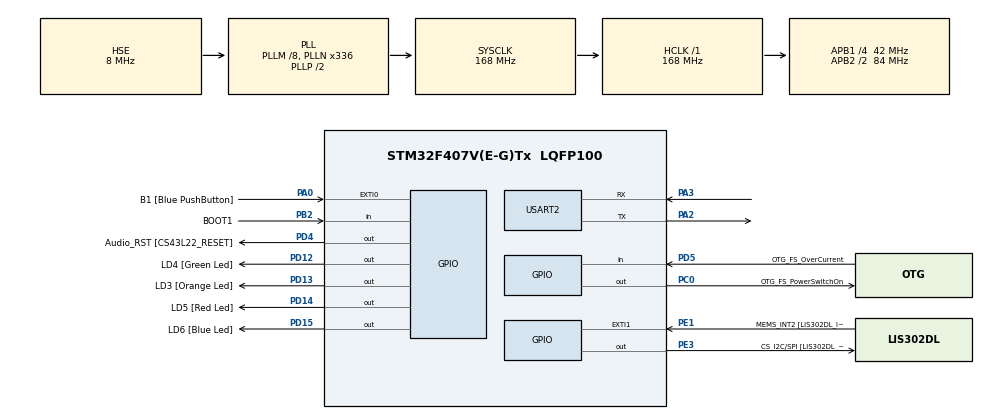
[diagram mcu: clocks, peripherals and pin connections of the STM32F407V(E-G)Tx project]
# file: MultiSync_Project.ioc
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Mcu.Family=STM32F4
Mcu.Name=STM32F407V(E-G)Tx
Mcu.Package=LQFP100
NVIC.EXTI0_IRQn=true\:6\:0\:true\:false\:true\:true\:true\:true
NVIC.PriorityGroup=NVIC_PRIORITYGROUP_4
NVIC.TIM6_DAC_IRQn=true\:0\:0\:false\:false\:true\:false\:true\:true
NVIC.TimeBase=TIM6_DAC_IRQn
NVIC.TimeBaseIP=TIM6
PA0-WKUP.GPIO_Label=B1 [Blue PushButton]
PA0-WKUP.GPIO_ModeDefaultEXTI=GPIO_MODE_IT_RISING
PA0-WKUP.GPIO_PuPd=GPIO_NOPULL
PA0-WKUP.Signal=GPXTI0
PA10.GPIO_Label=OTG_FS_ID
PA10.GPIO_Mode=GPIO_MODE_AF_PP
PA10.GPIO_PuPd=GPIO_NOPULL
PA10.GPIO_Speed=GPIO_SPEED_FREQ_LOW
PA10.Signal=USB_OTG_FS_ID
PA11.GPIO_Label=OTG_FS_DM
PA11.GPIO_Mode=GPIO_MODE_AF_PP
PA11.GPIO_PuPd=GPIO_NOPULL
PA11.GPIO_Speed=GPIO_SPEED_FREQ_LOW
PA11.Signal=USB_OTG_FS_DM
PA12.GPIO_Label=OTG_FS_DP
PA12.GPIO_Mode=GPIO_MODE_AF_PP
PA12.GPIO_PuPd=GPIO_NOPULL
PA12.GPIO_Speed=GPIO_SPEED_FREQ_LOW
PA12.Signal=USB_OTG_FS_DP
PA13.GPIO_Label=SWDIO
PA13.Mode=Serial_Wire
PA13.Signal=SYS_JTMS-SWDIO
PA14.GPIO_Label=SWCLK
PA14.Mode=Serial_Wire
PA14.Signal=SYS_JTCK-SWCLK
PA2.Mode=Asynchronous
PA2.Signal=USART2_TX
PA3.Mode=Asynchronous
PA3.Signal=USART2_RX
PA9.GPIO_Label=VBUS_FS
PA9.GPIO_Mode=GPIO_MODE_INPUT
PA9.GPIO_PuPd=GPIO_NOPULL
PA9.Signal=USB_OTG_FS_VBUS
PB10.GPIO_Label=CLK_IN [MP45DT02_CLK]
PB10.GPIO_Mode=GPIO_MODE_AF_PP
PB10.GPIO_PuPd=GPIO_NOPULL
PB10.GPIO_Speed=GPIO_SPEED_FREQ_LOW
PB10.Signal=I2S2_CK
PB2.GPIO_Label=BOOT1
PB2.GPIO_Mode=GPIO_MODE_INPUT
PB2.GPIO_PuPd=GPIO_NOPULL
PB2.Signal=GPIO_Input
PB3.GPIO_Label=SWO
PB3.Signal=SYS_JTDO-SWO
PB6.GPIO_Label=Audio_SCL [CS43L22_SCL]
PB6.GPIO_Mode=GPIO_MODE_AF_OD
PB6.GPIO_Pu=GPIO_PULLUP
PB6.GPIO_PuPd=GPIO_NOPULL
PB6.GPIO_Speed=GPIO_SPEED_FREQ_LOW
PB6.Signal=I2C1_SCL
PB9.GPIO_Label=Audio_SDA [CS43L22_SDA]
PB9.GPIO_Mode=GPIO_MODE_AF_OD
PB9.GPIO_Pu=GPIO_PULLUP
PB9.GPIO_PuPd=GPIO_NOPULL
PB9.GPIO_Speed=GPIO_SPEED_FREQ_LOW
PB9.Signal=I2C1_SDA
PC0.GPIO_Label=OTG_FS_PowerSwitchOn
PC0.GPIO_PuPd=GPIO_NOPULL
PC0.GPIO_Speed=GPIO_SPEED_FREQ_LOW
PC0.PinState=GPIO_PIN_SET
PC0.Signal=GPIO_Output
PC10.GPIO_Label=I2S3_SCK [CS43L22_SCLK]
PC10.GPIO_Mode=GPIO_MODE_AF_PP
PC10.GPIO_PuPd=GPIO_NOPULL
PC10.GPIO_Speed=GPIO_SPEED_FREQ_LOW
PC10.Signal=I2S3_CK
PC12.GPIO_Label=I2S3_SD [CS43L22_SDIN]
PC12.GPIO_Mode=GPIO_MODE_AF_PP
PC12.GPIO_PuPd=GPIO_NOPULL
PC12.GPIO_Speed=GPIO_SPEED_FREQ_LOW
PC12.Signal=I2S3_SD
PC14-OSC32_IN.GPIO_Label=PC14-OSC32_IN
PC14-OSC32_IN.Mode=LSE-External-Oscillator
PC14-OSC32_IN.Signal=RCC_OSC32_IN
PC15-OSC32_OUT.GPIO_Label=PC15-OSC32_OUT
PC15-OSC32_OUT.Mode=LSE-External-Oscillator
PC15-OSC32_OUT.Signal=RCC_OSC32_OUT
PC3.GPIO_Label=PDM_OUT [MP45DT02_DOUT]
PC3.GPIO_Mode=GPIO_MODE_AF_PP
PC3.GPIO_PuPd=GPIO_NOPULL
PC3.GPIO_Speed=GPIO_SPEED_FREQ_LOW
PC3.Signal=I2S2_SD
PC7.GPIO_Label=I2S3_MCK [CS43L22_MCLK]
PC7.GPIO_Mode=GPIO_MODE_AF_PP
PC7.GPIO_PuPd=GPIO_NOPULL
PC7.GPIO_Speed=GPIO_SPEED_FREQ_LOW
PC7.Signal=I2S3_MCK
PD12.GPIO_Label=LD4 [Green Led]
PD12.GPIO_PuPd=GPIO_NOPULL
PD12.GPIO_Speed=GPIO_SPEED_FREQ_LOW
PD12.Signal=GPIO_Output
PD13.GPIO_Label=LD3 [Orange Led]
PD13.GPIO_PuPd=GPIO_NOPULL
PD13.GPIO_Speed=GPIO_SPEED_FREQ_LOW
PD13.Signal=GPIO_Output
PD14.GPIO_Label=LD5 [Red Led]
PD14.GPIO_PuPd=GPIO_NOPULL
PD14.GPIO_Speed=GPIO_SPEED_FREQ_LOW
PD14.Signal=GPIO_Output
PD15.GPIO_Label=LD6 [Blue Led]
PD15.GPIO_PuPd=GPIO_NOPULL
PD15.GPIO_Speed=GPIO_SPEED_FREQ_LOW
PD15.Signal=GPIO_Output
PD4.GPIO_Label=Audio_RST [CS43L22_RESET]
PD4.GPIO_PuPd=GPIO_NOPULL
PD4.GPIO_Speed=GPIO_SPEED_FREQ_LOW
PD4.Signal=GPIO_Output
PD5.GPIO_Label=OTG_FS_OverCurrent
PD5.GPIO_Mode=GPIO_MODE_INPUT
PD5.GPIO_PuPd=GPIO_NOPULL
PD5.Signal=GPIO_Input
PE1.GPIO_Label=MEMS_INT2 [LIS302DL_INT2]
PE1.GPIO_ModeDefaultEXTI=GPIO_MODE_EVT_RISING
PE1.GPIO_PuPd=GPIO_NOPULL
PE1.Signal=GPXTI1
PE3.GPIO_Label=CS_I2C/SPI [LIS302DL_CS_I2C/SPI]
PE3.GPIO_PuPd=GPIO_NOPULL
PE3.GPIO_Speed=GPIO_SPEED_FREQ_LOW
PE3.Signal=GPIO_Output
PH0-OSC_IN.GPIO_Label=PH0-OSC_IN
PH0-OSC_IN.Mode=HSE-External-Oscillator
PH0-OSC_IN.Signal=RCC_OSC_IN
PH1-OSC_OUT.GPIO_Label=PH1-OSC_OUT
PH1-OSC_OUT.Mode=HSE-External-Oscillator
PH1-OSC_OUT.Signal=RCC_OSC_OUT
ProjectManager.HeapSize=0x200
ProjectManager.StackSize=0x400
ProjectManager.TargetToolchain=STM32CubeIDE
RCC.48MHZClocksFreq_Value=48000000
RCC.AHBFreq_Value=168000000
RCC.APB1CLKDivider=RCC_HCLK_DIV4
RCC.APB1Freq_Value=42000000
RCC.APB1TimFreq_Value=84000000
RCC.APB2CLKDivider=RCC_HCLK_DIV2
RCC.APB2Freq_Value=84000000
RCC.APB2TimFreq_Value=168000000
RCC.CortexFreq_Value=168000000
RCC.HCLKFreq_Value=168000000
RCC.HSE_VALUE=8000000
RCC.HSI_VALUE=16000000
RCC.PLLM=8
RCC.PLLN=336
RCC.PLLQ=7
RCC.PLLSourceVirtual=RCC_PLLSOURCE_HSE
RCC.SYSCLKFreq_VALUE=168000000
RCC.SYSCLKSource=RCC_SYSCLKSOURCE_PLLCLK
RCC.VCOOutputFreq_Value=336000000
USART2.VirtualMode=VM_ASYNC
VP_SYS_VS_tim6.Mode=TIM6
board=STM32F407G-DISC1

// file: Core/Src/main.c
/* USER CODE BEGIN Header */
/**
  ******************************************************************************
  * @file           : main.c
  * @brief          : Main program body
  ******************************************************************************
  * @attention
  *
  * Copyright (c) 2025 STMicroelectronics.
  * All rights reserved.
  *
  * This software is licensed under terms that can be found in the LICENSE file
  * in the root directory of this software component.
  * If no LICENSE file comes with this software, it is provided AS-IS.
  *
  ******************************************************************************
  */
/* USER CODE END Header */
#include "main.h"

/* USER CODE BEGIN Includes */

#include <stdio.h>   // sprintf, printf gibi fonksiyonlar için
#include <string.h>  // strlen, strcmp gibi fonksiyonlar için

#include "FreeRTOS.h"
#include "task.h"
#include "queue.h"
#include "semphr.h"
/* USER CODE END Includes */

UART_HandleTypeDef huart2;

/* USER CODE BEGIN PV */

QueueHandle_t queue;
SemaphoreHandle_t xCountingSem;
TaskHandle_t xNotifyTaskHandle;

/* USER CODE END PV */

void SystemClock_Config(void);
static void MX_GPIO_Init(void);
static void MX_USART2_UART_Init(void);
/* USER CODE BEGIN PFP */
void button_interrupt_handler(void);
void vQueueTask(void *pvParameters);
void vCountSemTask(void *pvParameters);
void vNotifyTask(void *pvParameters);

/* USER CODE END PFP */

int main(void)
{
  /* USER CODE BEGIN 1 */

	/* 5 eleman kapasiteli, her eleman 1 byte (uint8_t) */
	 queue = xQueueCreate(5, sizeof(uint8_t));

	 /* Maksimum 10 basışa kadar tutabilir; ilk değer = 0 (henüz semafor verilmedi) */
	 xCountingSem = xSemaphoreCreateCounting(10, 0);

	   xTaskCreate(vQueueTask,   "QueueTask",   128, NULL, 1, NULL);
	   xTaskCreate(vCountSemTask,"CountSemTask",128, NULL, 1, NULL);
	   xTaskCreate(vNotifyTask,  "NotifyTask",  128, NULL, 1, &xNotifyTaskHandle);

	   vTaskStartScheduler();

  /* USER CODE END 1 */

  /* MCU Configuration--------------------------------------------------------*/

  /* Reset of all peripherals, Initializes the Flash interface and the Systick. */
  HAL_Init();

  /* Configure the system clock */
  SystemClock_Config();

  /* Initialize all configured peripherals */
  MX_GPIO_Init();
  MX_USART2_UART_Init();

  /* Infinite loop */
  while (1)
  {

  }
}

void SystemClock_Config(void)
{
  RCC_OscInitTypeDef RCC_OscInitStruct = {0};
  RCC_ClkInitTypeDef RCC_ClkInitStruct = {0};

  /** Configure the main internal regulator output voltage
  */
  __HAL_RCC_PWR_CLK_ENABLE();
  __HAL_PWR_VOLTAGESCALING_CONFIG(PWR_REGULATOR_VOLTAGE_SCALE1);

  /** Initializes the RCC Oscillators according to the specified parameters
  * in the RCC_OscInitTypeDef structure.
  */
  RCC_OscInitStruct.OscillatorType = RCC_OSCILLATORTYPE_HSE;
  RCC_OscInitStruct.HSEState = RCC_HSE_ON;
  RCC_OscInitStruct.PLL.PLLState = RCC_PLL_ON;
  RCC_OscInitStruct.PLL.PLLSource = RCC_PLLSOURCE_HSE;
  RCC_OscInitStruct.PLL.PLLM = 8;
  RCC_OscInitStruct.PLL.PLLN = 336;
  RCC_OscInitStruct.PLL.PLLP = RCC_PLLP_DIV2;
  RCC_OscInitStruct.PLL.PLLQ = 7;
  if (HAL_RCC_OscConfig(&RCC_OscInitStruct) != HAL_OK)
  {
    Error_Handler();
  }

  /** Initializes the CPU, AHB and APB buses clocks
  */
  RCC_ClkInitStruct.ClockType = RCC_CLOCKTYPE_HCLK|RCC_CLOCKTYPE_SYSCLK
                              |RCC_CLOCKTYPE_PCLK1|RCC_CLOCKTYPE_PCLK2;
  RCC_ClkInitStruct.SYSCLKSource = RCC_SYSCLKSOURCE_PLLCLK;
  RCC_ClkInitStruct.AHBCLKDivider = RCC_SYSCLK_DIV1;
  RCC_ClkInitStruct.APB1CLKDivider = RCC_HCLK_DIV4;
  RCC_ClkInitStruct.APB2CLKDivider = RCC_HCLK_DIV2;

  if (HAL_RCC_ClockConfig(&RCC_ClkInitStruct, FLASH_LATENCY_5) != HAL_OK)
  {
    Error_Handler();
  }
}

static void MX_USART2_UART_Init(void)
{

  huart2.Instance = USART2;
  huart2.Init.BaudRate = 115200;
  huart2.Init.WordLength = UART_WORDLENGTH_8B;
  huart2.Init.StopBits = UART_STOPBITS_1;
  huart2.Init.Parity = UART_PARITY_NONE;
  huart2.Init.Mode = UART_MODE_TX_RX;
  huart2.Init.HwFlowCtl = UART_HWCONTROL_NONE;
  huart2.Init.OverSampling = UART_OVERSAMPLING_16;
  if (HAL_UART_Init(&huart2) != HAL_OK)
  {
    Error_Handler();
  }

}

static void MX_GPIO_Init(void)
{
  GPIO_InitTypeDef GPIO_InitStruct = {0};

  /* GPIO Ports Clock Enable */
  __HAL_RCC_GPIOE_CLK_ENABLE();
  __HAL_RCC_GPIOC_CLK_ENABLE();
  __HAL_RCC_GPIOH_CLK_ENABLE();
  __HAL_RCC_GPIOA_CLK_ENABLE();
  __HAL_RCC_GPIOB_CLK_ENABLE();
  __HAL_RCC_GPIOD_CLK_ENABLE();

  /*Configure GPIO pin Output Level */
  HAL_GPIO_WritePin(CS_I2C_SPI_GPIO_Port, CS_I2C_SPI_Pin, GPIO_PIN_RESET);

  /*Configure GPIO pin Output Level */
  HAL_GPIO_WritePin(OTG_FS_PowerSwitchOn_GPIO_Port, OTG_FS_PowerSwitchOn_Pin, GPIO_PIN_SET);

  /*Configure GPIO pin Output Level */
  HAL_GPIO_WritePin(GPIOD, LD4_Pin|LD3_Pin|LD5_Pin|LD6_Pin
                          |Audio_RST_Pin, GPIO_PIN_RESET);

  /*Configure GPIO pin : CS_I2C_SPI_Pin */
  GPIO_InitStruct.Pin = CS_I2C_SPI_Pin;
  GPIO_InitStruct.Mode = GPIO_MODE_OUTPUT_PP;
  GPIO_InitStruct.Pull = GPIO_NOPULL;
  GPIO_InitStruct.Speed = GPIO_SPEED_FREQ_LOW;
  HAL_GPIO_Init(CS_I2C_SPI_GPIO_Port, &GPIO_InitStruct);

  /*Configure GPIO pin : OTG_FS_PowerSwitchOn_Pin */
  GPIO_InitStruct.Pin = OTG_FS_PowerSwitchOn_Pin;
  GPIO_InitStruct.Mode = GPIO_MODE_OUTPUT_PP;
  GPIO_InitStruct.Pull = GPIO_NOPULL;
  GPIO_InitStruct.Speed = GPIO_SPEED_FREQ_LOW;
  HAL_GPIO_Init(OTG_FS_PowerSwitchOn_GPIO_Port, &GPIO_InitStruct);

  /*Configure GPIO pin : PDM_OUT_Pin */
  GPIO_InitStruct.Pin = PDM_OUT_Pin;
  GPIO_InitStruct.Mode = GPIO_MODE_AF_PP;
  GPIO_InitStruct.Pull = GPIO_NOPULL;
  GPIO_InitStruct.Speed = GPIO_SPEED_FREQ_LOW;
  GPIO_InitStruct.Alternate = GPIO_AF5_SPI2;
  HAL_GPIO_Init(PDM_OUT_GPIO_Port, &GPIO_InitStruct);

  /*Configure GPIO pin : B1_Pin */
  GPIO_InitStruct.Pin = B1_Pin;
  GPIO_InitStruct.Mode = GPIO_MODE_IT_RISING;
  GPIO_InitStruct.Pull = GPIO_NOPULL;
  HAL_GPIO_Init(B1_GPIO_Port, &GPIO_InitStruct);

  /*Configure GPIO pin : BOOT1_Pin */
  GPIO_InitStruct.Pin = BOOT1_Pin;
  GPIO_InitStruct.Mode = GPIO_MODE_INPUT;
  GPIO_InitStruct.Pull = GPIO_NOPULL;
  HAL_GPIO_Init(BOOT1_GPIO_Port, &GPIO_InitStruct);

  /*Configure GPIO pin : CLK_IN_Pin */
  GPIO_InitStruct.Pin = CLK_IN_Pin;
  GPIO_InitStruct.Mode = GPIO_MODE_AF_PP;
  GPIO_InitStruct.Pull = GPIO_NOPULL;
  GPIO_InitStruct.Speed = GPIO_SPEED_FREQ_LOW;
  GPIO_InitStruct.Alternate = GPIO_AF5_SPI2;
  HAL_GPIO_Init(CLK_IN_GPIO_Port, &GPIO_InitStruct);

  /*Configure GPIO pins : LD4_Pin LD3_Pin LD5_Pin LD6_Pin
                           Audio_RST_Pin */
  GPIO_InitStruct.Pin = LD4_Pin|LD3_Pin|LD5_Pin|LD6_Pin
                          |Audio_RST_Pin;
  GPIO_InitStruct.Mode = GPIO_MODE_OUTPUT_PP;
  GPIO_InitStruct.Pull = GPIO_NOPULL;
  GPIO_InitStruct.Speed = GPIO_SPEED_FREQ_LOW;
  HAL_GPIO_Init(GPIOD, &GPIO_InitStruct);

  /*Configure GPIO pins : I2S3_MCK_Pin I2S3_SCK_Pin I2S3_SD_Pin */
  GPIO_InitStruct.Pin = I2S3_MCK_Pin|I2S3_SCK_Pin|I2S3_SD_Pin;
  GPIO_InitStruct.Mode = GPIO_MODE_AF_PP;
  GPIO_InitStruct.Pull = GPIO_NOPULL;
  GPIO_InitStruct.Speed = GPIO_SPEED_FREQ_LOW;
  GPIO_InitStruct.Alternate = GPIO_AF6_SPI3;
  HAL_GPIO_Init(GPIOC, &GPIO_InitStruct);

  /*Configure GPIO pin : VBUS_FS_Pin */
  GPIO_InitStruct.Pin = VBUS_FS_Pin;
  GPIO_InitStruct.Mode = GPIO_MODE_INPUT;
  GPIO_InitStruct.Pull = GPIO_NOPULL;
  HAL_GPIO_Init(VBUS_FS_GPIO_Port, &GPIO_InitStruct);

  /*Configure GPIO pins : OTG_FS_ID_Pin OTG_FS_DM_Pin OTG_FS_DP_Pin */
  GPIO_InitStruct.Pin = OTG_FS_ID_Pin|OTG_FS_DM_Pin|OTG_FS_DP_Pin;
  GPIO_InitStruct.Mode = GPIO_MODE_AF_PP;
  GPIO_InitStruct.Pull = GPIO_NOPULL;
  GPIO_InitStruct.Speed = GPIO_SPEED_FREQ_LOW;
  GPIO_InitStruct.Alternate = GPIO_AF10_OTG_FS;
  HAL_GPIO_Init(GPIOA, &GPIO_InitStruct);

  /*Configure GPIO pin : OTG_FS_OverCurrent_Pin */
  GPIO_InitStruct.Pin = OTG_FS_OverCurrent_Pin;
  GPIO_InitStruct.Mode = GPIO_MODE_INPUT;
  GPIO_InitStruct.Pull = GPIO_NOPULL;
  HAL_GPIO_Init(OTG_FS_OverCurrent_GPIO_Port, &GPIO_InitStruct);

  /*Configure GPIO pins : Audio_SCL_Pin Audio_SDA_Pin */
  GPIO_InitStruct.Pin = Audio_SCL_Pin|Audio_SDA_Pin;
  GPIO_InitStruct.Mode = GPIO_MODE_AF_OD;
  GPIO_InitStruct.Pull = GPIO_PULLUP;
  GPIO_InitStruct.Speed = GPIO_SPEED_FREQ_LOW;
  GPIO_InitStruct.Alternate = GPIO_AF4_I2C1;
  HAL_GPIO_Init(GPIOB, &GPIO_InitStruct);

  /*Configure GPIO pin : MEMS_INT2_Pin */
  GPIO_InitStruct.Pin = MEMS_INT2_Pin;
  GPIO_InitStruct.Mode = GPIO_MODE_EVT_RISING;
  GPIO_InitStruct.Pull = GPIO_NOPULL;
  HAL_GPIO_Init(MEMS_INT2_GPIO_Port, &GPIO_InitStruct);

  /* EXTI interrupt init*/
  HAL_NVIC_SetPriority(EXTI0_IRQn, 6, 0);
  HAL_NVIC_EnableIRQ(EXTI0_IRQn);

}

/* USER CODE BEGIN 4 */
void button_interrupt_handler(void)
{
  static uint8_t pressCount = 0;
  BaseType_t xHigherPriorityTaskWoken = pdFALSE;

  /* Her buton kesmesinde sayacı arttır */
  pressCount++;

  /* 1) Counting Semaforunu ver */
  xSemaphoreGiveFromISR(xCountingSem, &xHigherPriorityTaskWoken);

  /* 2) Queue'ya basış sayısını gönder */
  xQueueSendFromISR(queue, &pressCount, &xHigherPriorityTaskWoken);

  /* 3) Bir göreve bildirim (notification) gönder */
  vTaskNotifyGiveFromISR(xNotifyTaskHandle, &xHigherPriorityTaskWoken);

  /* Eğer ISR'dan çıktıktan sonra daha yüksek öncelikli bir göreve geçmemiz gerekiyorsa, bunu sağlayın */
  portYIELD_FROM_ISR(xHigherPriorityTaskWoken);
}

void vQueueTask(void *pvParameters)
{
  uint8_t receivedValue = 0;
  char msg[50];

  for(;;)
  {
    /* Queue'dan değer gelmesini bekle */
    if(xQueueReceive(queue, &receivedValue, portMAX_DELAY) == pdTRUE)
    {
      /* Değer geldiğinde UART'a bas */
      sprintf(msg, "vQueueTask: Button press count = %d\r\n", receivedValue);
      HAL_UART_Transmit(&huart2, (uint8_t*)msg, strlen(msg), HAL_MAX_DELAY);
    }
  }
}

void vCountSemTask(void *pvParameters)
{
  char msg[50];

  for(;;)
  {
    /* Semafor verildi mi, bekle */
    if(xSemaphoreTake(xCountingSem, portMAX_DELAY) == pdTRUE)
    {
      /* Semafor alındığında UART'a bas */
      sprintf(msg, "vCountSemTask: Semaphore received\r\n");
      HAL_UART_Transmit(&huart2, (uint8_t*)msg, strlen(msg), HAL_MAX_DELAY);
    }
  }
}

void vNotifyTask(void *pvParameters)
{
  char msg[50];

  for(;;)
  {
    /* Buton ISR'ından gelebilecek bildirimi bekle */
    ulTaskNotifyTake(pdTRUE, portMAX_DELAY);

    /* Bildirim geldiğinde UART'a bas */
    sprintf(msg, "vNotifyTask: Notification received\r\n");
    HAL_UART_Transmit(&huart2, (uint8_t*)msg, strlen(msg), HAL_MAX_DELAY);
  }
}

/* USER CODE END 4 */

void HAL_TIM_PeriodElapsedCallback(TIM_HandleTypeDef *htim)
{
  if (htim->Instance == TIM6) {
    HAL_IncTick();
  }
}

void Error_Handler(void)
{
  __disable_irq();
  while (1)
  {
  }
}
